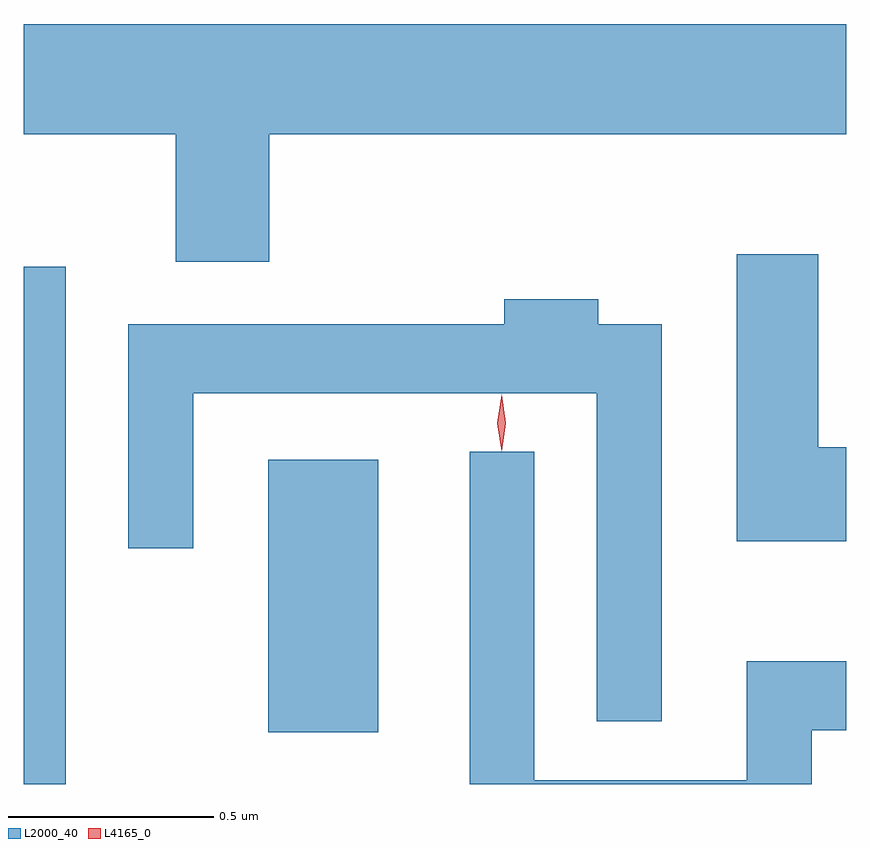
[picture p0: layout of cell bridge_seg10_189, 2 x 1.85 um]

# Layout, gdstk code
import gdstk
lib = gdstk.Library(unit=1e-6, precision=1e-09)
def R(c, l, rs):  # rectangles x0, y0, x1, y1
    for r in rs: c.add(gdstk.rectangle(r[:2], r[2:], *l))
def P(c, l, *ps):  # polygons
    for p in ps: c.add(gdstk.Polygon(p, *l))
L2000_40 = (2000, 40)
L4165_0 = (4165, 0)

bridge_seg10_189 = lib.new_cell('bridge_seg10_189')
R(bridge_seg10_189, L2000_40, [(1691.342,2092.355,1691.444,2093.613), (1691.936,2092.481,1692.204,2093.144)])
P(bridge_seg10_189, L2000_40, [(1691.939,2093.936),(1693.342,2093.936),(1693.342,2094.204),(1691.342,2094.204),(1691.342,2093.936),(1691.711,2093.936),(1691.711,2093.626),(1691.939,2093.626)],
  [(1693.342,2093.174),(1693.274,2093.174),(1693.274,2093.644),(1693.076,2093.644),(1693.076,2092.946),(1693.342,2092.946)],
  [(1692.894,2093.474),(1692.739,2093.474),(1692.739,2093.534),(1692.511,2093.534),(1692.511,2093.474),(1691.596,2093.474),(1691.596,2092.928),(1691.754,2092.928),(1691.754,2093.306),(1692.736,2093.306),(1692.736,2092.508),(1692.894,2092.508)],
  [(1693.259,2092.486),(1693.342,2092.486),(1693.342,2092.654),(1693.101,2092.654),(1693.101,2092.364),(1692.584,2092.364),(1692.584,2093.163),(1692.426,2093.163),(1692.426,2092.355),(1693.259,2092.355)])
P(bridge_seg10_189, L4165_0, [(1692.504,2093.167),(1692.495,2093.234),(1692.504,2093.3),(1692.504,2093.3),(1692.505,2093.3),(1692.514,2093.234),(1692.505,2093.167),(1692.505,2093.167)],
  [(1692.504,2093.164),(1692.504,2093.164),(1692.494,2093.233),(1692.504,2093.302),(1692.504,2093.303),(1692.505,2093.302),(1692.514,2093.233),(1692.505,2093.164)])

lib.write_gds('bridge_seg10_189.gds')
